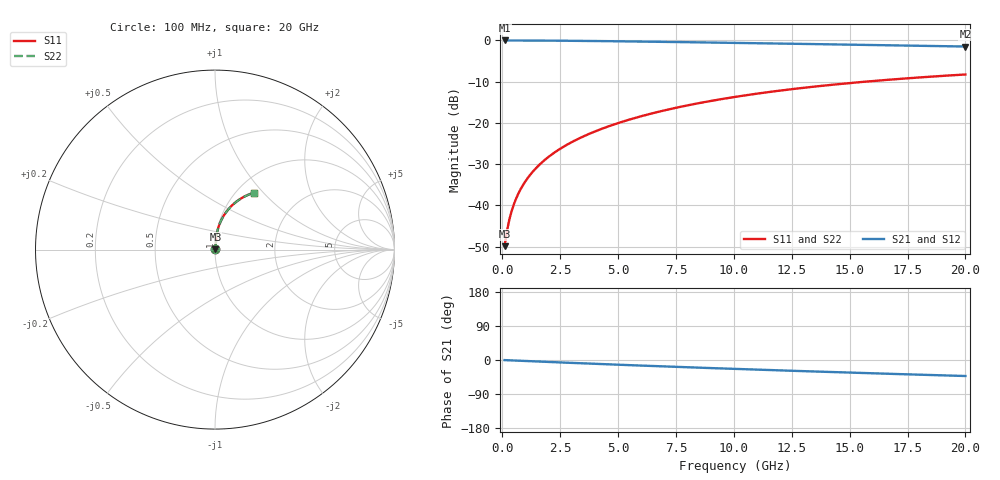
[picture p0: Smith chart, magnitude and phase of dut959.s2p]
! Touchstone file exported from HFSS 2024.1.0
!  File:  C:/UserFiles/LocalFiles/RDL_TSV_Batchsim/temp_RDL_top_959_1779938388.aedt
!  Generated:  11:22:03 AM May 28, 2026
!  Design:  RDL_top
!  Project:  temp_RDL_top_959_1779938388
!  Setup:  Setup1
!  Solution:  Sweep
! Variables:
!  dtsv = 10.80580581um
!  hbump = 3um
!  htsv = 64.67um
!  ldown = 100um
!  lrdl = 597.52um
!  p = 40
!  p1 = 52.65um
!  rhole = 1um
!  t = 450um
!  tdown = 3.915915916um
!  trdl = 4.35um
!  wdown = 15.38538539um
!  wrdl = 21.61um
# GHz S MA R 50.000000
! Terminal data exported
! Port[1] = Box2_T1
! Port[2] = Box2_T2
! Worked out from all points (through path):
!   200 points, 100 MHz to 20 GHz, reference 50 ohm
!   highest |S21| = -0.02 dB at 100 MHz (marker M1); lowest = -1.5 dB at 20 GHz (marker M2)
!   group delay of S21, straight-line fit = 5.82 ps
!   lowest |S11| = -49.9 dB at 100 MHz (marker M3), VSWR 1.01, Z = 50.2 + j0.211 ohm
!   |S11| at or under -10 dB: start of sweep to 15.71 GHz
!   |S22| runs from -49.9 to -8.3 dB; largest |S21 - S12| = 3.5e-15
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0.1  0.003201 40.9  0.9976 -0.3  0.9976 -0.3  0.003201 40.9
! Gamma 0 0 0 0
! Port Impedance 50 0 50 0
0.2  0.004848 58.3  0.9974 -0.5  0.9974 -0.5  0.004848 58.3
0.3  0.006646 66.1  0.9972 -0.8  0.9972 -0.8  0.006646 66.1
0.4  0.008467 70.6  0.9971 -1.1  0.9971 -1.1  0.008467 70.6
0.5  0.0103 73.6  0.9969 -1.3  0.9969 -1.3  0.0103 73.6
0.6  0.01214 75.7  0.9967 -1.6  0.9967 -1.6  0.01214 75.7
0.8  0.01585 78.6  0.9964 -2.1  0.9964 -2.1  0.01585 78.6
1.1  0.02148 81.1  0.9957 -2.8  0.9957 -2.8  0.02148 81.0
1.5  0.0291 82.8  0.9946 -3.9  0.9946 -3.9  0.0291 82.8
1.8  0.03487 83.5  0.9936 -4.6  0.9936 -4.6  0.03487 83.5
2.1  0.04069 83.9  0.9925 -5.4  0.9925 -5.4  0.04069 83.9
2.7  0.05247 84.3  0.9897 -6.9  0.9897 -6.9  0.05246 84.3
3.5  0.06847 84.2  0.9852 -8.9  0.9852 -8.9  0.06845 84.1
4.2  0.08273 83.7  0.9806 -10.6  0.9806 -10.6  0.0827 83.7
5  0.09931 82.9  0.9749 -12.4  0.9749 -12.4  0.09926 82.9
6.8  0.1374 80.4  0.9606 -16.5  0.9606 -16.5  0.1373 80.4
8.4  0.1715 77.7  0.9469 -20.0  0.9469 -20.0  0.1714 77.6
10.1  0.2073 74.5  0.9319 -23.6  0.9319 -23.6  0.2072 74.4
11.7  0.2402 71.3  0.9175 -26.8  0.9175 -26.8  0.2399 71.3
13.4  0.2736 67.9  0.9021 -30.2  0.9021 -30.2  0.2733 67.9
16.7  0.3335 61.5  0.872 -36.4  0.872 -36.4  0.3331 61.5
20  0.386 55.4  0.8421 -42.3  0.8421 -42.3  0.3856 55.4
